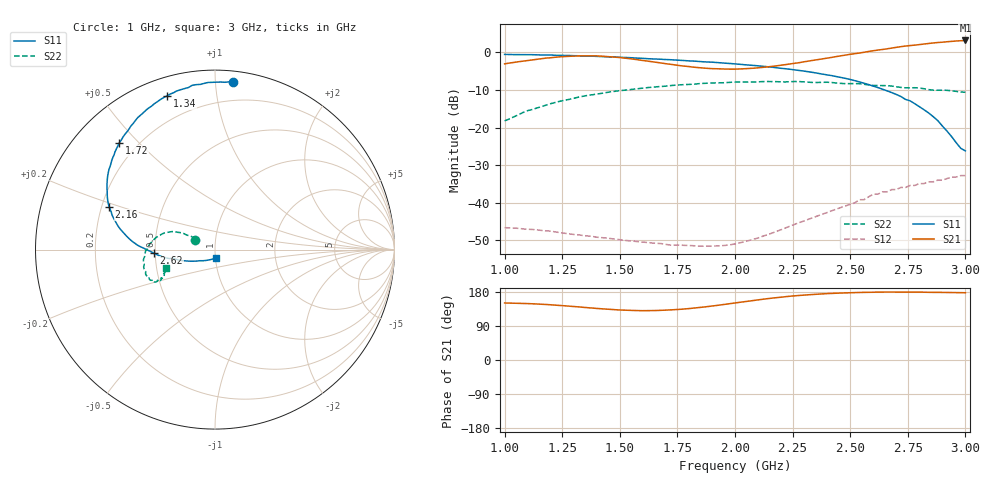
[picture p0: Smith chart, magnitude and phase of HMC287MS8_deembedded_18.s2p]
!Hittite Microwave Corporation
!12 Elizabeth Drive
!Chelmsford, MA 01824
!Tel: 978-250-3343
!Fax: 978-250-3373
!Device: HMC287MS8, 2.3-2.5 GHz LNA with AGC in 8-lead Grounded Base surface Mount Plastic Package
!Misc: Vdd = +3V Idd = 9.6 mA Vctl = 1.8V , DEEMBEDDED TO THE PINS OF THE DEVICE
# MHZ S MA R 50
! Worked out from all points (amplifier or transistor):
!   101 points, 1 GHz to 3 GHz, reference 50 ohm
!   highest |S21| = 3.2 dB at 3 GHz (marker M1)
!   |S21| within 3 dB of that: 2.573 GHz to end of sweep
!   unconditionally stable (mu >= 1): start of sweep to end of sweep
!   at 1.32 GHz: K = 25.80, MAG = 6.7 dB, |S12| = -48.5 dB
!   at 2 GHz: K = 124.68, MAG = -0.7 dB, |S12| = -50.9 dB
!   at 3 GHz: K = 13.76, MAG = 3.6 dB, |S12| = -32.8 dB
!   S11 on the Smith chart (normalised r, x): 1 GHz: 0.07, +1.11; 1.34 GHz: 0.08, +0.73; 1.72 GHz: 0.13, +0.44; 2.16 GHz: 0.23, +0.18; 2.62 GHz: 0.49, -0.02; 3 GHz: 1.01, -0.10
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1000  0.94 83.8  0.704 150.5  0.004671 159.0  0.123 152.9
1100  0.932 91.1  0.779 148.8  0.004444 166.2  0.168 152.1
1180  0.925 96.5  0.84 146.5  0.004235 172.0  0.199 152.8
1340  0.897 107.3  0.899 139.1  0.003671 -171.6  0.261 157.4
1500  0.86 117.8  0.855 132.0  0.003233 -151.6  0.31 164.0
1680  0.81 129.3  0.722 131.1  0.002867 -124.2  0.352 172.5
1720  0.799 131.8  0.695 132.2  0.002741 -117.0  0.362 174.4
1860  0.751 140.6  0.62 139.5  0.00265 -90.1  0.387 -178.7
2000  0.703 148.9  0.599 150.5  0.002839 -58.1  0.403 -171.8
2160  0.636 158.0  0.651 163.2  0.003946 -23.9  0.409 -164.1
2340  0.54 167.8  0.785 172.9  0.006374 0.8  0.398 -157.7
2520  0.421 177.5  0.961 177.8  0.01 16.7  0.385 -153.0
2540  0.405 178.4  0.981 178.2  0.011 18.3  0.383 -152.1
2560  0.389 179.5  1.003 178.5  0.011 19.5  0.377 -151.3
2600  0.356 -178.1  1.052 178.8  0.013 21.1  0.363 -151.6
2620  0.341 -176.5  1.074 179.1  0.013 21.3  0.363 -152.0
2680  0.292 -171.9  1.141 179.3  0.015 22.7  0.357 -150.3
2760  0.227 -166.7  1.233 179.2  0.017 25.9  0.338 -152.4
2840  0.157 -155.8  1.313 178.6  0.019 28.3  0.32 -152.3
2880  0.124 -148.8  1.353 178.5  0.02 29.4  0.314 -154.8
2980  0.053 -101.1  1.429 177.7  0.023 32.5  0.297 -157.4
3000  0.049 -81.4  1.441 177.4  0.023 33.0  0.295 -159.2
